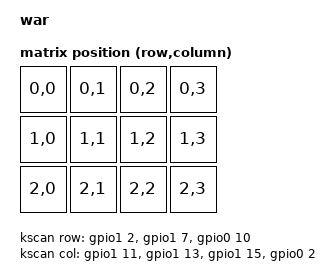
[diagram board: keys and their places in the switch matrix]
#include "war-pinctrl.dtsi"

/ {
    model = "war";
    compatible = "war";

    chosen {
        zephyr,code-partition = &code_partition;
        zephyr,sram = &sram0;
        zephyr,flash = &flash0;
        // Uncomment this if you enabled one of the "vddh" nodes below.
        // zmk,battery = &vbatt;
        zmk,kscan = &kscan;
        zmk,matrix-transform = &default_transform;
        zmk,display = &oled;
    };

    kscan: kscan {
        compatible = "zmk,kscan-gpio-matrix";
        diode-direction = "col2row";
        wakeup-source;

        col-gpios
            = <&gpio1 11 GPIO_ACTIVE_HIGH>
            , <&gpio1 13 GPIO_ACTIVE_HIGH>
            , <&gpio1 15 GPIO_ACTIVE_HIGH>
            , <&gpio0  2 GPIO_ACTIVE_HIGH>
            ;

        row-gpios
            = <&gpio1  2 (GPIO_ACTIVE_HIGH | GPIO_PULL_DOWN)>
            , <&gpio1  7 (GPIO_ACTIVE_HIGH | GPIO_PULL_DOWN)>
            , <&gpio0 10 (GPIO_ACTIVE_HIGH | GPIO_PULL_DOWN)>
            ;
    };

    default_transform: default_transform {
        compatible = "zmk,matrix-transform";
        columns = <4>;
        rows = <3>;

        map = 
            RC(0,0) RC(0,1) RC(0,2) RC(0,3)
            RC(1,0) RC(1,1) RC(1,2) RC(1,3)
            RC(2,0) RC(2,1) RC(2,2) RC(2,3)
        >;
    };

    // ... (vbatt comments unchanged) ...
};

// ... (reg0/reg1 comments unchanged) ...

&adc { status = "okay"; };
&gpiote { status = "okay"; };
&gpio0 { status = "okay"; };
&gpio1 { status = "okay"; };

&i2c0 {
    compatible = "nordic,nrf-twi";
    status = "okay";
    pinctrl-0 = <&i2c0_default>;
    pinctrl-1 = <&i2c0_sleep>;
    pinctrl-names = "default", "sleep";

    oled: ssd1306@3c {
        compatible = "solomon,ssd1306fb";
        reg = <0x3c>;
        width = <128>;
        height = <64>;
        segment-offset = <0>;
        page-offset = <0>;
        display-offset = <0>;
        multiplex-ratio = <63>;
        segment-remap;
        com-invdir;
        prechargep = <0x22>;
    };
};

// ... (usbd, flash0 partitions unchanged) ...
